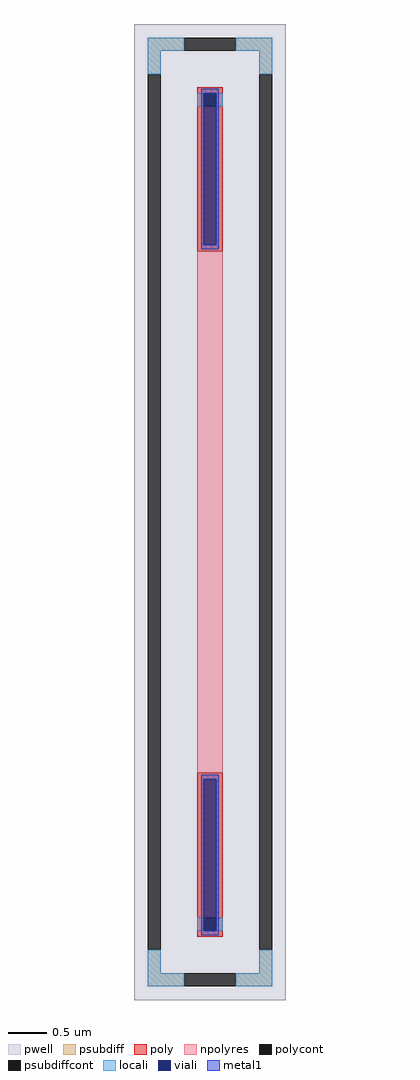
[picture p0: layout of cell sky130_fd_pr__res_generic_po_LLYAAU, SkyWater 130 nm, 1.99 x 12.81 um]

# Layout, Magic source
magic
tech sky130A
magscale 1 2
<< pwell >>
rect -199 -1281 199 1281
<< psubdiff >>
rect -163 1211 -67 1245
rect 67 1211 163 1245
rect -163 1149 -129 1211
rect 129 1149 163 1211
rect -163 -1211 -129 -1149
rect 129 -1211 163 -1149
rect -163 -1245 -67 -1211
rect 67 -1245 163 -1211
<< psubdiffcont >>
rect -67 1211 67 1245
rect -163 -1149 -129 1149
rect 129 -1149 163 1149
rect -67 -1245 67 -1211
<< poly >>
rect -33 1099 33 1115
rect -33 1065 -17 1099
rect 17 1065 33 1099
rect -33 685 33 1065
rect -33 -1065 33 -685
rect -33 -1099 -17 -1065
rect 17 -1099 33 -1065
rect -33 -1115 33 -1099
<< polycont >>
rect -17 1065 17 1099
rect -17 -1099 17 -1065
<< npolyres >>
rect -33 -685 33 685
<< locali >>
rect -163 1211 -67 1245
rect 67 1211 163 1245
rect -163 1149 -129 1211
rect 129 1149 163 1211
rect -33 1065 -17 1099
rect 17 1065 33 1099
rect -33 -1099 -17 -1065
rect 17 -1099 33 -1065
rect -163 -1211 -129 -1149
rect 129 -1211 163 -1149
rect -163 -1245 -67 -1211
rect 67 -1245 163 -1211
<< viali >>
rect -17 1065 17 1099
rect -17 702 17 1065
rect -17 -1065 17 -702
rect -17 -1099 17 -1065
<< metal1 >>
rect -23 1099 23 1111
rect -23 702 -17 1099
rect 17 702 23 1099
rect -23 690 23 702
rect -23 -702 23 -690
rect -23 -1099 -17 -702
rect 17 -1099 23 -702
rect -23 -1111 23 -1099
<< properties >>
string FIXED_BBOX -146 -1228 146 1228
string gencell sky130_fd_pr__res_generic_po
string library sky130
string parameters w 0.33 l 6.85 m 1 nx 1 wmin 0.330 lmin 1.650 rho 48.2 val 1.0k dummy 0 dw 0.0 term 0.0 sterm 0.0 caplen 0.4 snake 0 guard 1 glc 1 grc 1 gtc 1 gbc 1 roverlap 0 endcov 100 full_metal 1 hv_guard 0 n_guard 0 vias 1 viagb 0 viagt 0 viagl 0 viagr 0
<< end >>
